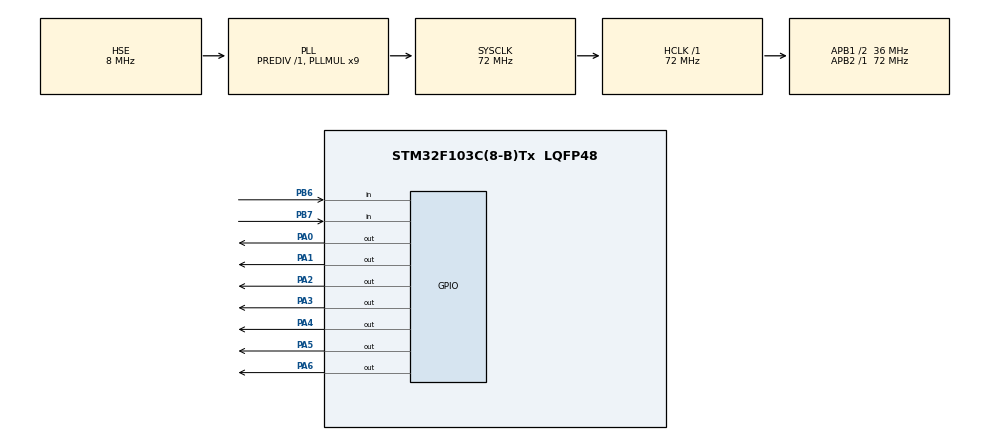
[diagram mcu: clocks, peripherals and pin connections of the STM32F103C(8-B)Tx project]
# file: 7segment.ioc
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Mcu.Family=STM32F1
Mcu.Name=STM32F103C(8-B)Tx
Mcu.Package=LQFP48
NVIC.PriorityGroup=NVIC_PRIORITYGROUP_4
PA0-WKUP.Signal=GPIO_Output
PA1.Signal=GPIO_Output
PA13.Mode=Serial_Wire
PA13.Signal=SYS_JTMS-SWDIO
PA14.Mode=Serial_Wire
PA14.Signal=SYS_JTCK-SWCLK
PA2.Signal=GPIO_Output
PA3.Signal=GPIO_Output
PA4.Signal=GPIO_Output
PA5.Signal=GPIO_Output
PA6.Signal=GPIO_Output
PB6.GPIO_PuPd=GPIO_PULLDOWN
PB6.Signal=GPIO_Input
PB7.GPIO_PuPd=GPIO_PULLDOWN
PB7.Signal=GPIO_Input
PD0-OSC_IN.Mode=HSE-External-Oscillator
PD0-OSC_IN.Signal=RCC_OSC_IN
PD1-OSC_OUT.Mode=HSE-External-Oscillator
PD1-OSC_OUT.Signal=RCC_OSC_OUT
ProjectManager.HeapSize=0x200
ProjectManager.StackSize=0x400
ProjectManager.TargetToolchain=MDK-ARM V5.32
RCC.AHBFreq_Value=72000000
RCC.APB1CLKDivider=RCC_HCLK_DIV2
RCC.APB1Freq_Value=36000000
RCC.APB1TimFreq_Value=72000000
RCC.APB2Freq_Value=72000000
RCC.APB2TimFreq_Value=72000000
RCC.HCLKFreq_Value=72000000
RCC.PLLMUL=RCC_PLL_MUL9
RCC.PLLSourceVirtual=RCC_PLLSOURCE_HSE
RCC.SYSCLKFreq_VALUE=72000000
RCC.SYSCLKSource=RCC_SYSCLKSOURCE_PLLCLK
RCC.USBFreq_Value=72000000
board=custom

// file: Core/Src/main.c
/* USER CODE BEGIN Header */
/**
  ******************************************************************************
  * @file           : main.c
  * @brief          : Main program body
  ******************************************************************************
  * @attention
  *
  * Copyright (c) 2024 STMicroelectronics.
  * All rights reserved.
  *
  * This software is licensed under terms that can be found in the LICENSE file
  * in the root directory of this software component.
  * If no LICENSE file comes with this software, it is provided AS-IS.
  *
  ******************************************************************************
  */
/* USER CODE END Header */
#include "main.h"

void SystemClock_Config(void);
static void MX_GPIO_Init(void);

int main(void)
{

  /* USER CODE BEGIN 1 */
	int displaying_number = 0;
	int digits[10] = {0x3F,0x06,0x5B,0x4F,0x66,0x6D,0x7D,0x07,0x7F,0x6F};

  /* USER CODE END 1 */

  /* MCU Configuration--------------------------------------------------------*/

  /* Reset of all peripherals, Initializes the Flash interface and the Systick. */
  HAL_Init();

  /* Configure the system clock */
  SystemClock_Config();

  /* Initialize all configured peripherals */
  MX_GPIO_Init();
  /* USER CODE BEGIN 2 */

	HAL_GPIO_WritePin(GPIOA,0x7f,GPIO_PIN_SET);																	// turn all the segments off
	HAL_GPIO_WritePin(GPIOA,digits[displaying_number],GPIO_PIN_RESET);					// represent 0

  /* USER CODE END 2 */

  /* Infinite loop */
  /* USER CODE BEGIN WHILE */
  while (1)
  {

		if(HAL_GPIO_ReadPin(GPIOB,GPIO_PIN_7))
		{

		displaying_number += 1 ;

			if(displaying_number==10)
				displaying_number = 0;

			HAL_GPIO_WritePin(GPIOA,0x7f,GPIO_PIN_SET);																	// turn all the segments off
			HAL_GPIO_WritePin(GPIOA,digits[displaying_number],GPIO_PIN_RESET);

			HAL_Delay(250);

		}

		if(HAL_GPIO_ReadPin(GPIOB,GPIO_PIN_6))
		{

		displaying_number -= 1 ;

			if(displaying_number==-1)
				displaying_number = 9;

			HAL_GPIO_WritePin(GPIOA,0x7f,GPIO_PIN_SET);																	// turn all the segments off
			HAL_GPIO_WritePin(GPIOA,digits[displaying_number],GPIO_PIN_RESET);

			HAL_Delay(250);

		}

    /* USER CODE END WHILE */

  }
}

void SystemClock_Config(void)
{
  RCC_OscInitTypeDef RCC_OscInitStruct = {0};
  RCC_ClkInitTypeDef RCC_ClkInitStruct = {0};

  /** Initializes the RCC Oscillators according to the specified parameters
  * in the RCC_OscInitTypeDef structure.
  */
  RCC_OscInitStruct.OscillatorType = RCC_OSCILLATORTYPE_HSE;
  RCC_OscInitStruct.HSEState = RCC_HSE_ON;
  RCC_OscInitStruct.HSEPredivValue = RCC_HSE_PREDIV_DIV1;
  RCC_OscInitStruct.HSIState = RCC_HSI_ON;
  RCC_OscInitStruct.PLL.PLLState = RCC_PLL_ON;
  RCC_OscInitStruct.PLL.PLLSource = RCC_PLLSOURCE_HSE;
  RCC_OscInitStruct.PLL.PLLMUL = RCC_PLL_MUL9;
  if (HAL_RCC_OscConfig(&RCC_OscInitStruct) != HAL_OK)
  {
    Error_Handler();
  }

  /** Initializes the CPU, AHB and APB buses clocks
  */
  RCC_ClkInitStruct.ClockType = RCC_CLOCKTYPE_HCLK|RCC_CLOCKTYPE_SYSCLK
                              |RCC_CLOCKTYPE_PCLK1|RCC_CLOCKTYPE_PCLK2;
  RCC_ClkInitStruct.SYSCLKSource = RCC_SYSCLKSOURCE_PLLCLK;
  RCC_ClkInitStruct.AHBCLKDivider = RCC_SYSCLK_DIV1;
  RCC_ClkInitStruct.APB1CLKDivider = RCC_HCLK_DIV2;
  RCC_ClkInitStruct.APB2CLKDivider = RCC_HCLK_DIV1;

  if (HAL_RCC_ClockConfig(&RCC_ClkInitStruct, FLASH_LATENCY_2) != HAL_OK)
  {
    Error_Handler();
  }
}

static void MX_GPIO_Init(void)
{
  GPIO_InitTypeDef GPIO_InitStruct = {0};

  /* GPIO Ports Clock Enable */
  __HAL_RCC_GPIOD_CLK_ENABLE();
  __HAL_RCC_GPIOA_CLK_ENABLE();
  __HAL_RCC_GPIOB_CLK_ENABLE();

  /*Configure GPIO pin Output Level */
  HAL_GPIO_WritePin(GPIOA, GPIO_PIN_0|GPIO_PIN_1|GPIO_PIN_2|GPIO_PIN_3
                          |GPIO_PIN_4|GPIO_PIN_5|GPIO_PIN_6, GPIO_PIN_RESET);

  /*Configure GPIO pins : PA0 PA1 PA2 PA3
                           PA4 PA5 PA6 */
  GPIO_InitStruct.Pin = GPIO_PIN_0|GPIO_PIN_1|GPIO_PIN_2|GPIO_PIN_3
                          |GPIO_PIN_4|GPIO_PIN_5|GPIO_PIN_6;
  GPIO_InitStruct.Mode = GPIO_MODE_OUTPUT_PP;
  GPIO_InitStruct.Pull = GPIO_NOPULL;
  GPIO_InitStruct.Speed = GPIO_SPEED_FREQ_LOW;
  HAL_GPIO_Init(GPIOA, &GPIO_InitStruct);

  /*Configure GPIO pins : PB6 PB7 */
  GPIO_InitStruct.Pin = GPIO_PIN_6|GPIO_PIN_7;
  GPIO_InitStruct.Mode = GPIO_MODE_INPUT;
  GPIO_InitStruct.Pull = GPIO_PULLDOWN;
  HAL_GPIO_Init(GPIOB, &GPIO_InitStruct);

}

void Error_Handler(void)
{
  __disable_irq();
  while (1)
  {
  }
}
